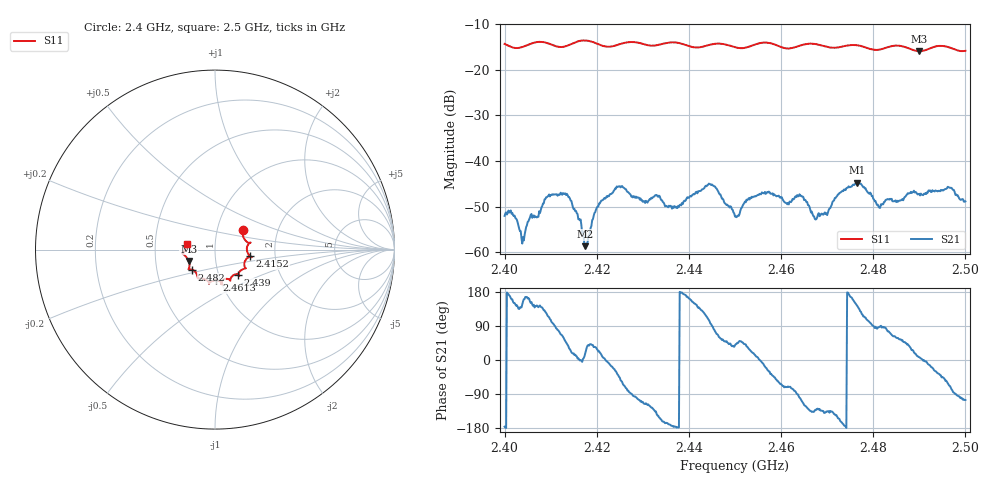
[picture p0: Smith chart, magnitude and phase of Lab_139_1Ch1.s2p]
# Hz S RI R
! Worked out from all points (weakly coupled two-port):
!   601 points, 2.4 GHz to 2.5 GHz, reference 50 ohm
!   highest |S21| = -44.75 dB at 2.4765 GHz (marker M1); lowest = -58.6 dB at 2.4175 GHz (marker M2)
!   lowest |S11| = -15.9 dB at 2.49 GHz (marker M3), VSWR 1.38, Z = 36.9 - j4.81 ohm
!   |S11| at or under -10 dB: start of sweep to end of sweep
!   S12 and S22 are empty: the file has one direction only
!   S11 on the Smith chart (normalised r, x): 2.4 GHz: 1.33, +0.31; 2.4152 GHz: 1.48, -0.11; 2.439 GHz: 1.24, -0.36; 2.4613 GHz: 0.96, -0.34; 2.482 GHz: 0.76, -0.17; 2.5 GHz: 0.73, +0.05
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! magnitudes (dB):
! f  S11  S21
! 2.4 GHz  -14.3  -52.0
! 2.404 GHz  -15.0  -56.6
! 2.4095 GHz  -14.2  -47.6
! 2.4152 GHz  -14.1  -50.5
! 2.4167 GHz  -13.6  -54.1
! 2.4175 GHz  -13.6  -58.6
! 2.4205 GHz  -14.5  -49.3
! 2.4245 GHz  -14.5  -45.7
! 2.4333 GHz  -14.6  -47.8
! 2.439 GHz  -14.5  -48.7
! 2.4448 GHz  -14.4  -45.2
! 2.45 GHz  -15.0  -52.1
! 2.456 GHz  -14.1  -47.0
! 2.4613 GHz  -15.3  -49.5
! 2.4643 GHz  -14.6  -47.6
! 2.4667 GHz  -14.3  -51.0
! 2.4765 GHz  -14.6  -44.7
! 2.482 GHz  -15.4  -49.4
! 2.4833 GHz  -15.0  -48.4
! 2.49 GHz  -15.9  -47.2
! 2.4967 GHz  -15.1  -45.8
! 2.5 GHz  -15.8  -48.8
